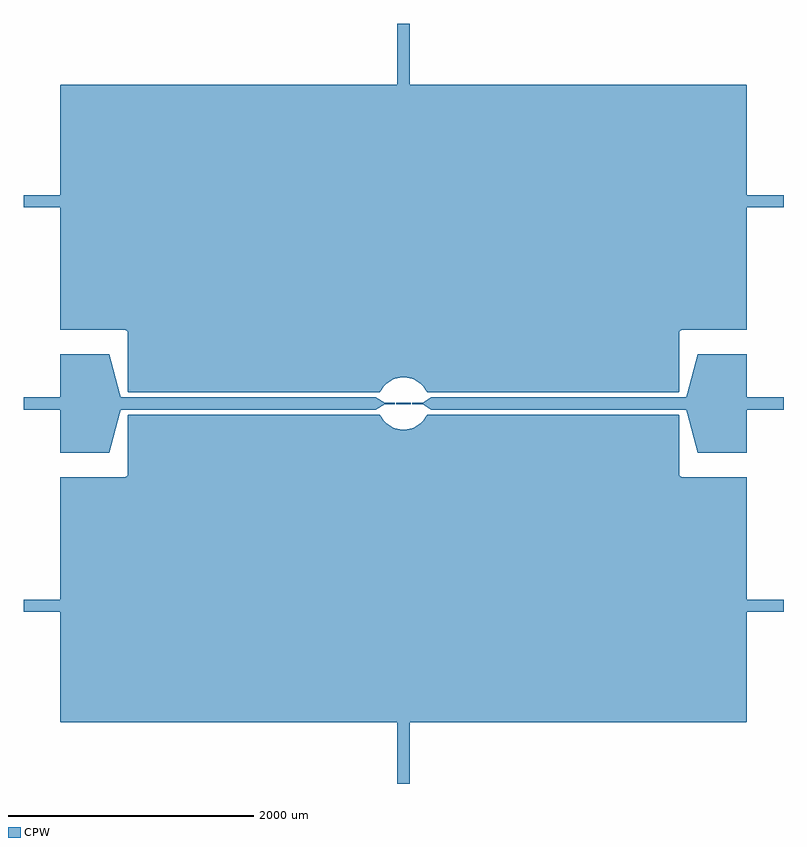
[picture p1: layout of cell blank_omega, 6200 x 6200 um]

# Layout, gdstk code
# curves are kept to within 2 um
import gdstk
lib = gdstk.Library(unit=1e-6, precision=1e-09)
def R(c, l, rs):  # rectangles x0, y0, x1, y1
    for r in rs: c.add(gdstk.rectangle(r[:2], r[2:], *l))
def P(c, l, *ps):  # polygons
    for p in ps: c.add(gdstk.Polygon(p, *l))
CPW = (1, 0)

blank_omega = lib.new_cell('blank_omega')
R(blank_omega, CPW, [(-50,-3100,50,-2400), (-3100,-1700,-2600,-1600), (2600,-1700,3100,-1600), (-2800,-400,-2400,400), (2400,-400,2800,400), (-3100,-50,-225,50), (225,-50,3100,50), (-3100,1600,-2600,1700), (2600,1600,3100,1700), (-50,2500,50,3100)])
P(blank_omega, CPW, [(-2790.491,-2600),(-2796.724,-2597.418),(-2800,-2590.491),(-2800,-600),(-2269.017,-600),(-2256.553,-594.837),(-2250,-580.983),(-2250,-99.509),(-2243.373,-90.573),(-193.631,-90),(-157.642,-142.878),(-142.878,-157.642),(-109.379,-182.487),(-90.965,-192.329),(-51.696,-206.38),(-31.218,-210.454),(10.439,-212.5),(31.218,-210.454),(71.675,-200.319),(109.379,-182.487),(126.739,-170.887),(157.642,-142.878),(193.631,-90),(2241.469,-90.096),(2247.418,-93.276),(2250,-99.509),(2250,-580.983),(2256.553,-594.837),(2269.017,-600),(2800,-600),(2800,-2590.491),(2793.373,-2599.427)],
  [(-2400,-400),(-2400,400),(-2300,20),(-2300,-20)],
  [(-2240.491,90),(-2246.724,92.582),(-2250,99.509),(-2250,580.983),(-2256.553,594.837),(-2269.017,600),(-2800,600),(-2800,2590.491),(-2794.281,2599.051),(2790.491,2600),(2799.051,2594.281),(2800,600),(2269.017,600),(2256.553,594.837),(2250,580.983),(2250,99.509),(2244.281,90.949),(193.631,90),(157.642,142.878),(142.878,157.642),(109.379,182.487),(90.965,192.329),(51.696,206.38),(31.218,210.454),(-10.439,212.5),(-31.218,210.454),(-71.675,200.319),(-109.379,182.487),(-126.739,170.887),(-157.642,142.878),(-193.631,90)],
  [(2400,-400),(2300,-20),(2300,20),(2400,400)],
  [(79.509,-7.5),(71.412,-2.647),(70,7.5),(207.868,7.5),(212.543,5.564),(215,0.368),(213.064,-5.043),(207.868,-7.5)],
  [(-207.868,-7.5),(-212.543,-5.564),(-215,-0.368),(-213.064,5.043),(-207.868,7.5),(-79.509,7.5),(-73.276,4.918),(-70,-2.009),(-70,-7.5)],
  [(-60,-7.5),(-58.588,2.647),(-51.469,7.404),(60,7.5),(58.588,-2.647),(51.469,-7.404)],
  [(-225,-50),(-225,50),(-155,7.5),(-155,-7.5)],
  [(225,-50),(155,-7.5),(155,7.5),(225,50)])

lib.write_gds('blank_omega.gds')
